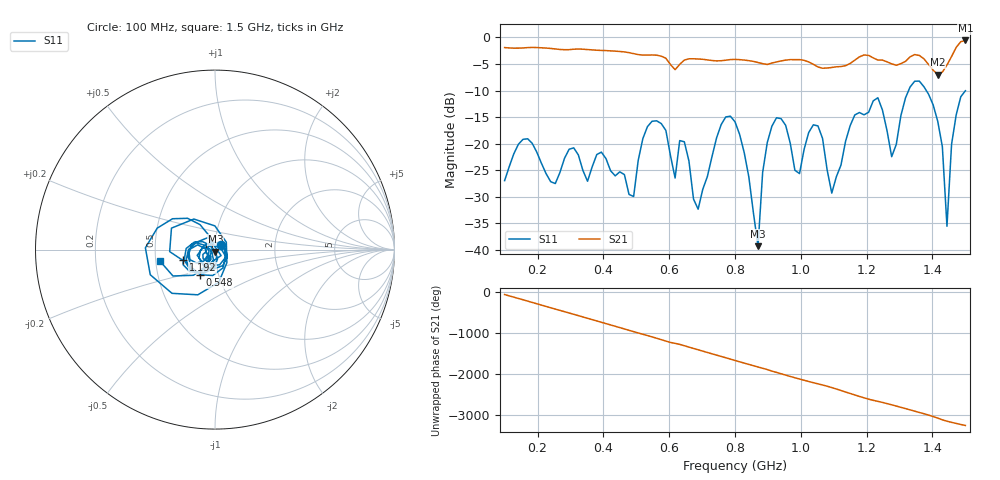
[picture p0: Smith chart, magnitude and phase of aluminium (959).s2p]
! NanoVNA-App
! Date: 2025-09-25 15:02:45
! Start: 100MHz Stop: 1,5GHz Points: 101
! S-Parameter data: F S11 S21 S12 S22
# Hz S RI R 50
!  Frequency  S11_Real  S11_Imag  S21_Real  S21_Imag  S12_Real  S12_Imag  S22_Real  S22_Imag
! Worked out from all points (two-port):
!   101 points, 100 MHz to 1.5 GHz, reference 50 ohm
!   highest |S21| = -0.58 dB at 1.5 GHz (marker M1); lowest = -7.0 dB at 1.416 GHz (marker M2)
!   |S21| within 3 dB of the highest: start of sweep to 577.4 MHz; 1.458 GHz to end of sweep (the widest 2 of 4)
!   lowest |S11| = -39.3 dB at 870 MHz (marker M3), VSWR 1.02, Z = 50.2 - j1.07 ohm
!   |S11| at or under -10 dB: start of sweep to 1.327 GHz; 1.381 GHz to end of sweep
!   S12 and S22 are empty: the file has one direction only
!   S11 on the Smith chart (normalised r, x): 100 MHz: 1.07, +0.06; 548 MHz: 0.82, -0.24; 1.192 GHz: 0.69, -0.08; 1.5 GHz: 0.52, -0.07
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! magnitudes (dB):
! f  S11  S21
! 100 MHz  -27.0  -1.9
! 156 MHz  -19.2  -2.0
! 338 MHz  -25.1  -2.2
! 492 MHz  -29.9  -3.1
! 548 MHz  -15.8  -3.3
! 576 MHz  -16.2  -3.5
! 646 MHz  -19.6  -4.3
! 688 MHz  -32.3  -4.1
! 800 MHz  -15.9  -4.1
! 870 MHz  -39.3  -4.7
! 912 MHz  -16.7  -4.8
! 996 MHz  -25.6  -4.2
! 1.038 GHz  -16.5  -5.1
! 1.094 GHz  -29.3  -5.7
! 1.192 GHz  -14.6  -3.3
! 1.234 GHz  -11.4  -4.3
! 1.276 GHz  -22.4  -5.0
! 1.346 GHz  -8.2  -3.2
! 1.416 GHz  -15.8  -7.0
! 1.444 GHz  -35.5  -5.2
! 1.458 GHz  -20.1  -3.6
! 1.5 GHz  -10.0  -0.6
